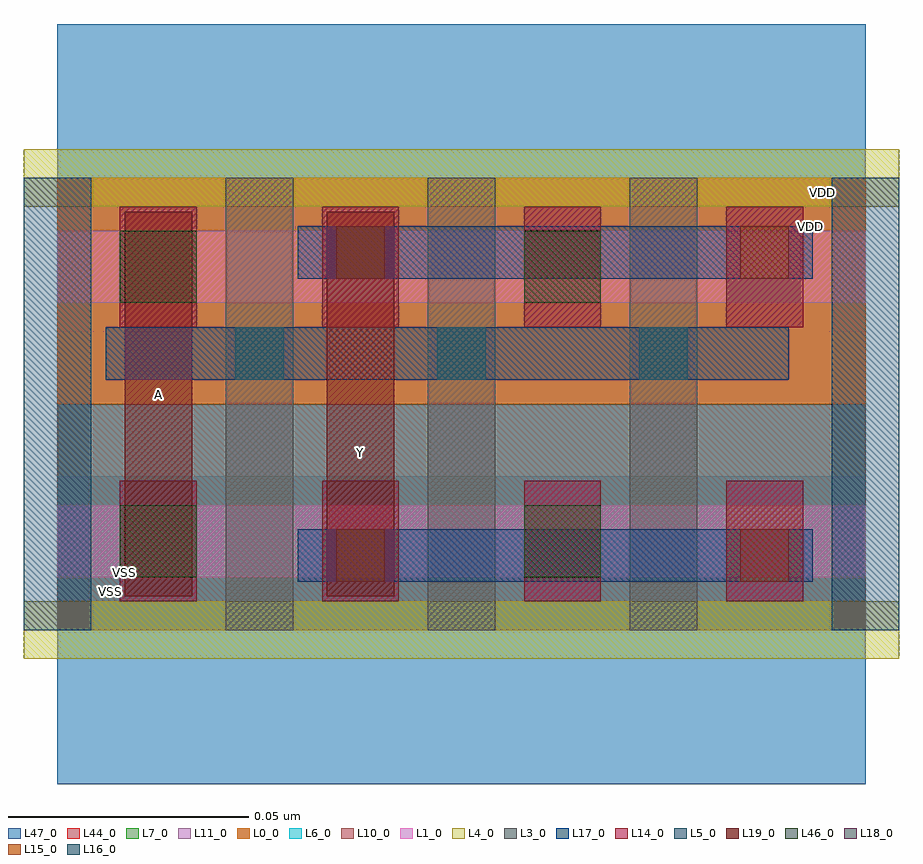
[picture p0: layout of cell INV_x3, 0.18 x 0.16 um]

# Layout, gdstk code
import gdstk
lib = gdstk.Library(unit=1e-6, precision=5e-10)
def R(c, l, rs):  # rectangles x0, y0, x1, y1
    for r in rs: c.add(gdstk.rectangle(r[:2], r[2:], *l))
def A(c, l, x, y, w, h, nx, ny, dx, dy):  # array of equal rectangles
    R(c, l, [(x+i*dx, y+j*dy, x+i*dx+w, y+j*dy+h) for i in range(nx) for j in range(ny)])
L0_0 = (0, 0)
L1_0 = (1, 0)
L3_0 = (3, 0)
L4_0 = (4, 0)
L5_0 = (5, 0)
L6_0 = (6, 0)
L7_0 = (7, 0)
L10_0 = (10, 0)
L11_0 = (11, 0)
L14_0 = (14, 0)
L15_0 = (15, 0)
L16_0 = (16, 0)
L17_0 = (17, 0)
L18_0 = (18, 0)
L19_0 = (19, 0)
L44_0 = (44, 0)
L46_0 = (46, 0)
L47_0 = (47, 0)

inv_x3 = lib.new_cell('INV_x3')
R(inv_x3, L0_0, [(0,0.047,0.168,0.094)])
R(inv_x3, L1_0, [(0,0.011,0.168,0.026), (0,0.068,0.168,0.083)])
A(inv_x3, L3_0, 0.035, 0, 0.014, 0.094, 3, 1, 0.042, 0)
R(inv_x3, L4_0, [(-0.007,-0.006,0.175,0.006), (-0.007,0.088,0.175,0.1)])
R(inv_x3, L5_0, [(-0.007,0,0.007,0.094), (0.161,0,0.175,0.094)])
R(inv_x3, L6_0, [(0,0,0.168,0.047)])
R(inv_x3, L7_0, [(0,0.047,0.168,0.094)])
R(inv_x3, L10_0, [(0,0,0.168,0.047)])
R(inv_x3, L11_0, [(0,0.047,0.168,0.094)])
A(inv_x3, L14_0, 0.013, 0.006, 0.016, 0.025, 4, 2, 0.042, 0.057)
R(inv_x3, L15_0, [(0.058,0.01,0.068,0.021), (0.142,0.01,0.152,0.021), (0.058,0.073,0.068,0.084), (0.142,0.073,0.152,0.084)])
A(inv_x3, L16_0, 0.037, 0.052, 0.01, 0.011, 3, 1, 0.042, 0)
R(inv_x3, L17_0, [(0.05,0.01,0.157,0.021), (0.01,0.052,0.152,0.063), (0.05,0.073,0.157,0.084)])
R(inv_x3, L18_0, [(0.056,0.01,0.07,0.021), (0.014,0.052,0.028,0.063), (0.056,0.073,0.07,0.084)])
R(inv_x3, L19_0, [(0.014,0.007,0.028,0.087), (0.056,0.007,0.07,0.087)])
R(inv_x3, L44_0, [(0,0,0.168,0.094)])
R(inv_x3, L46_0, [(0.013,0.011,0.029,0.026), (0.097,0.011,0.113,0.026), (0.013,0.068,0.029,0.083), (0.097,0.068,0.113,0.083)])
R(inv_x3, L47_0, [(0,-0.032,0.168,0.032), (0,0.062,0.168,0.126)])
inv_x3.add(gdstk.Label('VSS', (0.014,0.012), layer=47, texttype=2))
inv_x3.add(gdstk.Label('VDD', (0.1565,0.084), layer=47, texttype=2))
inv_x3.add(gdstk.Label('VDD', (0.159,0.091), layer=0, texttype=2))
inv_x3.add(gdstk.Label('Y', (0.063,0.037), layer=19, texttype=2))
inv_x3.add(gdstk.Label('A', (0.021,0.049), layer=19, texttype=2))
inv_x3.add(gdstk.Label('VSS', (0.011,0.008), layer=54, texttype=2))

lib.write_gds('INV_x3.gds')
